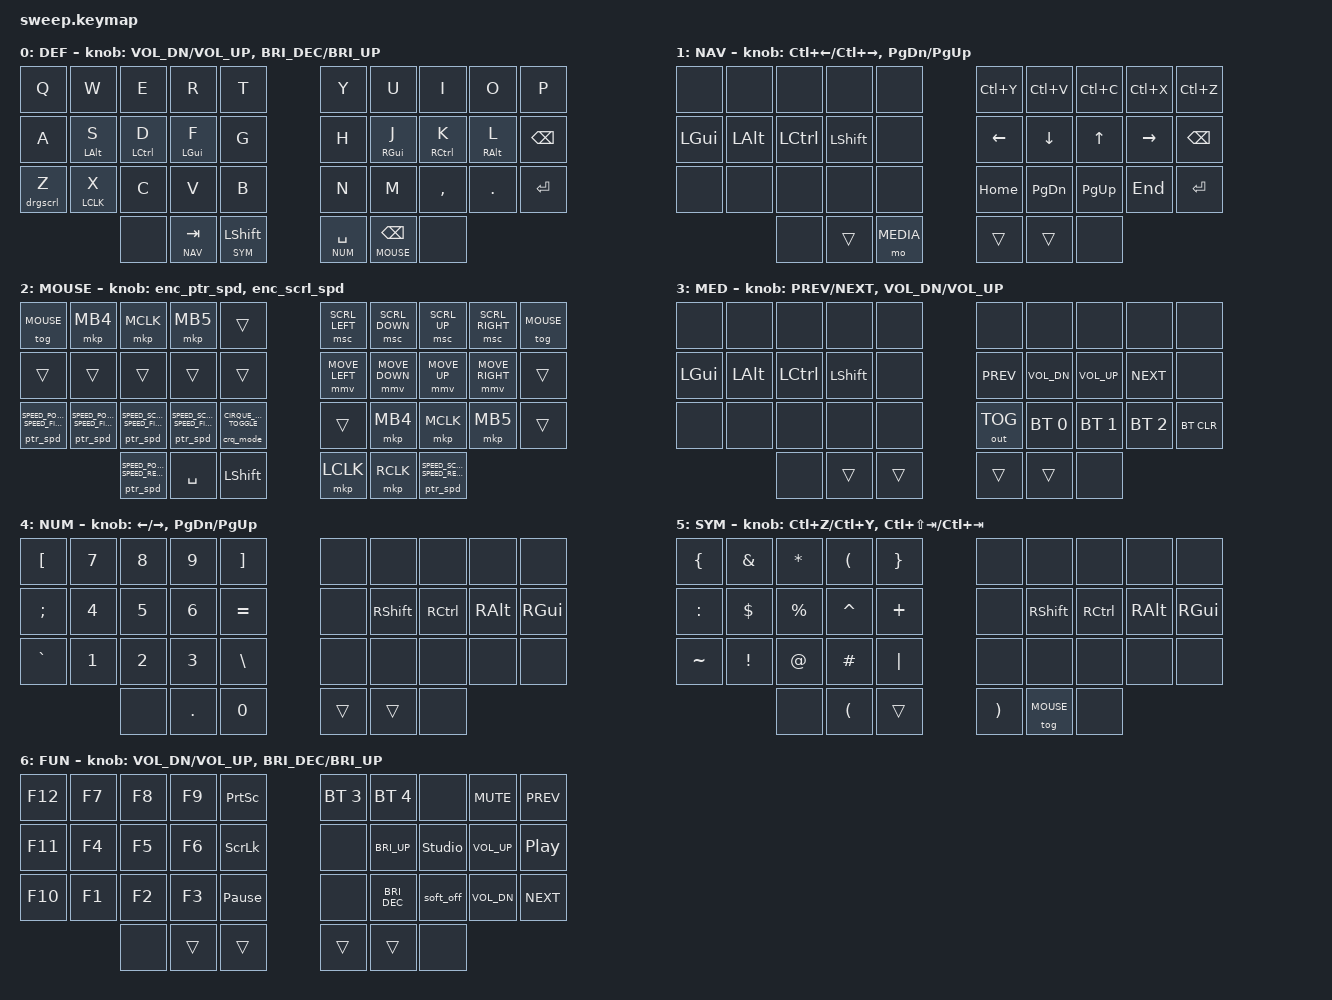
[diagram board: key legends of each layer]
// Copyright (c) 2022 The ZMK Contributors
// SPDX-License-Identifier: MIT
//
// Miryoku-style layout for Ferris Sweep Pro (34-key, Windows)
// Layout: BASE / NAV / MOUSE / MEDIA / NUM / SYM / FUN
// Mouse layer: original repo implementation preserved verbatim
// Encoders:    per-layer sensor-bindings; MOUSE layer unchanged

#define ZMK_POINTING_DEFAULT_MOVE_VAL 2500
#define ZMK_POINTING_DEFAULT_SCRL_VAL 20

#include <behaviors.dtsi>
#include <dt-bindings/zmk/bt.h>
#include <dt-bindings/zmk/keys.h>
#include <dt-bindings/zmk/outputs.h>
#include <dt-bindings/zmk/pointing.h>

#include "behaviors/character_map.dtsi"
#include "behaviors/report.dtsi"

#define BASE  0
#define NAV   1
#define MOUSE 2
#define MEDIA 3
#define NUM   4
#define SYM   5
#define FUN   6

#define SPEED_POINTER    0
#define SPEED_SCROLL     1
#define SPEED_PREV       0
#define SPEED_NEXT       1
#define SPEED_RESET      2
#define SPEED_FINE_PREV  3
#define SPEED_FINE_NEXT  4
#define CIRQUE_MODE_RELATIVE 0
#define CIRQUE_MODE_ABSOLUTE 1
#define CIRQUE_MODE_TOGGLE   2

&sensors {
	left_encoder {
		triggers-per-rotation = <15>;
	};
	right_encoder {
		triggers-per-rotation = <45>;
	};
};

&glidepoint_listener {
	input-processors = <&pointer_processor 0 0 &drag_scroll_processor 1 8>;
};

/ {
	pointer_processor: pointer_processor {
		compatible = "zmk,input-processor-pointer-speed";
		#input-processor-cells = <2>;
		track-remainders;
		pointer-curve = "adaptive";
		pointer-curve-deadzone = <2>;
		pointer-curve-accel-multiplier = <1>;
		pointer-curve-accel-divisor = <12>;
		pointer-curve-max-delta = <120>;
		one-x-multiplier = <1>;
		one-x-divisor = <1>;
		min-percent = <10>;
		max-percent = <400>;
		initial-speed-position = <50>;
	};

	drag_scroll_processor: drag_scroll_processor {
		compatible = "zmk,input-processor-drag-scroll";
		#input-processor-cells = <2>;
		track-remainders;
		native-wheel-axis = "horizontal-when-enabled";
		scroll-min-step = <1>;
		one-x-multiplier = <1>;
		one-x-divisor = <1>;
		min-percent = <10>;
		max-percent = <1000>;
		initial-speed-position = <50>;
	};

	behaviors {
		drgscrl: drag_scroll {
			compatible = "zmk,behavior-drag-scroll";
			#binding-cells = <0>;
		};

		ptr_spd: pointing_speed {
			compatible = "zmk,behavior-pointing-speed";
			#binding-cells = <2>;
		};

		enc_ptr_spd: encoder_pointer_speed {
			compatible = "zmk,behavior-sensor-rotate";
			#sensor-binding-cells = <0>;
			bindings = <&ptr_spd SPEED_POINTER SPEED_PREV>, <&ptr_spd SPEED_POINTER SPEED_NEXT>;
		};

		enc_scrl_spd: encoder_scroll_speed {
			compatible = "zmk,behavior-sensor-rotate";
			#sensor-binding-cells = <0>;
			bindings = <&ptr_spd SPEED_SCROLL SPEED_PREV>, <&ptr_spd SPEED_SCROLL SPEED_NEXT>;
		};

		crq_mode: crqm {
			compatible = "zmk,behavior-cirque-mode";
			#binding-cells = <1>;
		};

		ds_z: drag_scroll_z {
			compatible = "zmk,behavior-hold-tap";
			#binding-cells = <2>;
			flavor = "tap-preferred";
			tapping-term-ms = <200>;
			quick-tap-ms = <150>;
			require-prior-idle-ms = <125>;
			bindings = <&drgscrl>, <&kp>;
		};

		sel_x: select_x {
			compatible = "zmk,behavior-hold-tap";
			#binding-cells = <2>;
			flavor = "tap-preferred";
			tapping-term-ms = <200>;
			quick-tap-ms = <150>;
			require-prior-idle-ms = <125>;
			bindings = <&mkp>, <&kp>;
		};

		ht: hold_tap {
			label = "hold_tap";
			compatible = "zmk,behavior-hold-tap";
			#binding-cells = <2>;
			flavor = "balanced";
			tapping-term-ms = <200>;
			quick-tap-ms = <150>;
			require-prior-idle-ms = <125>;
			global-quick-tap;
			bindings = <&kp>, <&kp>;
		};

		mmv {
			acceleration-exponent = <1>;
			time-to-max-speed-ms = <300>;
			delay-ms = <0>;
		};
		msc {
			acceleration-exponent = <0>;
			time-to-max-speed-ms = <40>;
			delay-ms = <0>;
		};
	};

	conditional_layers {
		compatible = "zmk,conditional-layers";
		fun_layer {
			if-layers = <NAV NUM>;
			then-layer = <FUN>;
		};
	};

	combos {
		compatible = "zmk,combos";

		combo_er_right_click {
			timeout-ms = <25>;
			require-prior-idle-ms = <125>;
			key-positions = <2 3>;
			layers = <BASE MOUSE>;
			bindings = <&mkp RCLK>;
		};
		combo_rt_forward {
			timeout-ms = <25>;
			require-prior-idle-ms = <125>;
			key-positions = <3 4>;
			layers = <BASE MOUSE>;
			bindings = <&mkp MB5>;
		};
		combo_df_left_click {
			timeout-ms = <25>;
			require-prior-idle-ms = <125>;
			key-positions = <12 13>;
			layers = <BASE MOUSE>;
			bindings = <&mkp LCLK>;
		};
		combo_fg_back {
			timeout-ms = <25>;
			require-prior-idle-ms = <125>;
			key-positions = <13 14>;
			layers = <BASE MOUSE>;
			bindings = <&mkp MB4>;
		};
		combo_cv_middle_click {
			timeout-ms = <25>;
			require-prior-idle-ms = <125>;
			key-positions = <22 23>;
			layers = <BASE MOUSE>;
			bindings = <&mkp MCLK>;
		};

		combo_thumb_media {
			timeout-ms = <50>;
			require-prior-idle-ms = <125>;
			key-positions = <31 32>;
			layers = <BASE>;
			bindings = <&mo MEDIA>;
		};
	};

	keymap {
		compatible = "zmk,keymap";

		base_layer {
			display-name = "DEF";
			bindings = <
			&kp Q        &kp W         &kp E         &kp R         &kp T         &kp Y         &kp U         &kp I         &kp O         &kp P
			&kp A        &ht LALT S    &ht LCTRL D   &ht LGUI F    &kp G         &kp H         &ht RGUI J    &ht RCTRL K   &ht RALT L    &kp BSPC
			&ds_z 0 Z    &sel_x LCLK X &kp C         &kp V         &kp B         &kp N         &kp M         &kp COMMA     &kp DOT       &kp ENTER
			&none        &lt NAV TAB   &lt SYM LSHFT                              &lt NUM SPACE &lt MOUSE BSPC &none
			>;
			sensor-bindings = <&inc_dec_kp C_VOL_DN C_VOL_UP &inc_dec_kp C_BRI_DEC C_BRI_UP>;
		};

		nav_layer {
			display-name = "NAV";
			bindings = <
			&none        &none         &none         &none         &none         &kp LC(Y)     &kp LC(V)     &kp LC(C)     &kp LC(X)     &kp LC(Z)
			&kp LGUI     &kp LALT      &kp LCTRL     &kp LSHIFT    &none         &kp LEFT      &kp DOWN      &kp UP        &kp RIGHT     &kp BSPC
			&none        &none         &none         &none         &none         &kp HOME      &kp PG_DN     &kp PG_UP     &kp END       &kp ENTER
			&none        &trans        &mo MEDIA                                 &trans        &trans        &none
			>;
			sensor-bindings = <&inc_dec_kp LC(LEFT) LC(RIGHT) &inc_dec_kp PG_DN PG_UP>;
		};

		mouse {
			display-name = "MOUSE";
			bindings = <
			&tog MOUSE   &mkp MB4      &mkp MCLK     &mkp MB5      &trans        &msc SCRL_LEFT  &msc SCRL_DOWN  &msc SCRL_UP  &msc SCRL_RIGHT  &tog MOUSE
			&trans       &trans        &trans        &trans        &trans        &mmv MOVE_LEFT  &mmv MOVE_DOWN  &mmv MOVE_UP  &mmv MOVE_RIGHT  &trans
			&ptr_spd SPEED_POINTER SPEED_FINE_PREV  &ptr_spd SPEED_POINTER SPEED_FINE_NEXT  &ptr_spd SPEED_SCROLL SPEED_FINE_PREV  &ptr_spd SPEED_SCROLL SPEED_FINE_NEXT  &crq_mode CIRQUE_MODE_TOGGLE  &trans  &mkp MB4  &mkp MCLK  &mkp MB5  &trans
			&ptr_spd SPEED_POINTER SPEED_RESET  &kp SPACE  &kp LSHIFT                        &mkp LCLK  &mkp RCLK  &ptr_spd SPEED_SCROLL SPEED_RESET
			>;
			sensor-bindings = <&enc_ptr_spd &enc_scrl_spd>;
		};

		media_layer {
			display-name = "MED";
			bindings = <
			&none        &none         &none         &none         &none         &none         &none          &none          &none          &none
			&kp LGUI     &kp LALT      &kp LCTRL     &kp LSHIFT    &none         &kp C_PREV    &kp C_VOL_DN   &kp C_VOL_UP   &kp C_NEXT     &none
			&none        &none         &none         &none         &none         &out OUT_TOG  &bt BT_SEL 0   &bt BT_SEL 1   &bt BT_SEL 2   &bt BT_CLR
			&none        &trans        &trans                                    &trans        &trans         &none
			>;
			sensor-bindings = <&inc_dec_kp C_PREV C_NEXT &inc_dec_kp C_VOL_DN C_VOL_UP>;
		};

		num_layer {
			display-name = "NUM";
			bindings = <
			&kp LBKT     &kp N7        &kp N8        &kp N9        &kp RBKT      &none         &none          &none          &none          &none
			&kp SEMI     &kp N4        &kp N5        &kp N6        &kp EQUAL     &none         &kp RSHIFT     &kp RCTRL      &kp RALT       &kp RGUI
			&kp GRAVE    &kp N1        &kp N2        &kp N3        &kp BSLH      &none         &none          &none          &none          &none
			&none        &kp DOT       &kp N0                                    &trans        &trans         &none
			>;
			sensor-bindings = <&inc_dec_kp LEFT RIGHT &inc_dec_kp PG_DN PG_UP>;
		};

		sym_layer {
			display-name = "SYM";
			bindings = <
			&kp LBRC     &kp AMPS      &kp ASTRK     &kp LPAR      &kp RBRC      &none         &none          &none          &none          &none
			&kp COLON    &kp DLLR      &kp PRCNT     &kp CARET     &kp PLUS      &none         &kp RSHIFT     &kp RCTRL      &kp RALT       &kp RGUI
			&kp TILDE    &kp EXCL      &kp AT        &kp HASH      &kp PIPE      &none         &none          &none          &none          &none
			&none        &kp LPAR      &trans                                     &kp RPAR      &tog MOUSE     &none
			>;
			sensor-bindings = <&inc_dec_kp LC(Z) LC(Y) &inc_dec_kp LC(LS(TAB)) LC(TAB)>;
		};

		fun_layer {
			display-name = "FUN";
			bindings = <
			&kp F12      &kp F7        &kp F8        &kp F9        &kp PSCRN     &bt BT_SEL 3  &bt BT_SEL 4   &none          &kp C_MUTE     &kp C_PREV
			&kp F11      &kp F4        &kp F5        &kp F6        &kp SLCK      &none         &kp C_BRI_UP   &studio_unlock  &kp C_VOL_UP   &kp C_PP
			&kp F10      &kp F1        &kp F2        &kp F3        &kp PAUSE_BREAK &none       &kp C_BRI_DEC  &soft_off       &kp C_VOL_DN   &kp C_NEXT
			&none        &trans        &trans                                    &trans        &trans         &none
			>;
			sensor-bindings = <&inc_dec_kp C_VOL_DN C_VOL_UP &inc_dec_kp C_BRI_DEC C_BRI_UP>;
		};
	};
};
